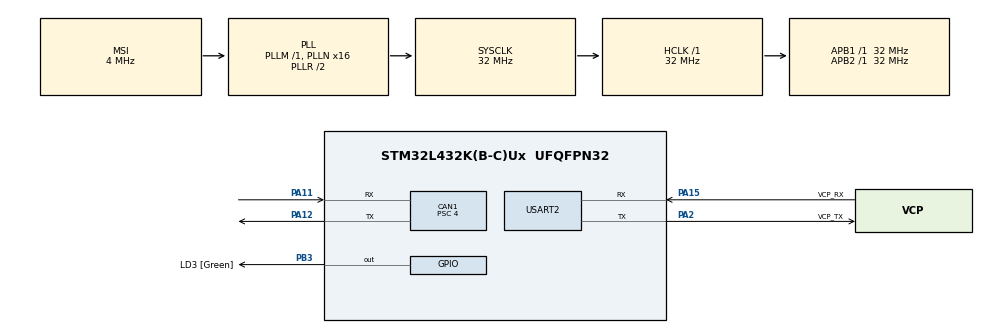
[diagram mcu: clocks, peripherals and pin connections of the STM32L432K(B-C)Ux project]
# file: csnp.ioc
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CAN1.ABOM=ENABLE
CAN1.BS1=CAN_BS1_5TQ
CAN1.BS2=CAN_BS2_2TQ
CAN1.CalculateBaudRate=1000000
CAN1.CalculateTimeBit=1000
CAN1.CalculateTimeQuantum=125.0
CAN1.NART=ENABLE
CAN1.Prescaler=4
CAN1.SJW=CAN_SJW_2TQ
Mcu.Family=STM32L4
Mcu.Name=STM32L432K(B-C)Ux
Mcu.Package=UFQFPN32
NVIC.CAN1_RX0_IRQn=true\:0\:0\:false\:false\:true\:true\:true\:true
NVIC.CAN1_RX1_IRQn=true\:0\:0\:false\:false\:true\:true\:true\:true
NVIC.PriorityGroup=NVIC_PRIORITYGROUP_4
PA0.GPIO_Label=MCO [High speed clock in]
PA0.Mode=HSE-External-Clock-Source-for-LittleOrca
PA0.Signal=RCC_CK_IN
PA11.Mode=CAN_Activate
PA11.Signal=CAN1_RX
PA12.Mode=CAN_Activate
PA12.Signal=CAN1_TX
PA13\ (JTMS-SWDIO).GPIO_Label=SWDIO
PA13\ (JTMS-SWDIO).Mode=Serial_Wire
PA13\ (JTMS-SWDIO).Signal=SYS_JTMS-SWDIO
PA14\ (JTCK-SWCLK).GPIO_Label=SWCLK
PA14\ (JTCK-SWCLK).Mode=Serial_Wire
PA14\ (JTCK-SWCLK).Signal=SYS_JTCK-SWCLK
PA15\ (JTDI).GPIO_Label=VCP_RX
PA15\ (JTDI).Mode=Asynchronous
PA15\ (JTDI).Signal=USART2_RX
PA2.GPIO_Label=VCP_TX
PA2.Mode=Asynchronous
PA2.Signal=USART2_TX
PB3\ (JTDO-TRACESWO).GPIO_Label=LD3 [Green]
PB3\ (JTDO-TRACESWO).Signal=GPIO_Output
PC14-OSC32_IN\ (PC14).Mode=LSE-External-Oscillator
PC14-OSC32_IN\ (PC14).Signal=RCC_OSC32_IN
PC15-OSC32_OUT\ (PC15).Mode=LSE-External-Oscillator
PC15-OSC32_OUT\ (PC15).Signal=RCC_OSC32_OUT
ProjectManager.HeapSize=0x200
ProjectManager.StackSize=0x400
ProjectManager.TargetToolchain=STM32CubeIDE
RCC.AHBFreq_Value=32000000
RCC.APB1Freq_Value=32000000
RCC.APB1TimFreq_Value=32000000
RCC.APB2Freq_Value=32000000
RCC.APB2TimFreq_Value=32000000
RCC.CortexFreq_Value=32000000
RCC.HCLKFreq_Value=32000000
RCC.HSE_VALUE=8000000
RCC.HSI16_VALUE=16000000
RCC.HSI48_VALUE=48000000
RCC.HSI_VALUE=16000000
RCC.MSI_VALUE=4000000
RCC.PLLMUL=RCC_PLLMUL_4
RCC.PLLN=16
RCC.SYSCLKFreq_VALUE=32000000
RCC.SYSCLKSource=RCC_SYSCLKSOURCE_PLLCLK
RCC.VCOOutputFreq_Value=64000000
USART2.VirtualMode-Asynchronous=VM_ASYNC
board=NUCLEO-L432KC

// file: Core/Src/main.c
/* USER CODE BEGIN Header */
/**
 ******************************************************************************
 * @file           : main.c
 * @brief          : Main program body
 ******************************************************************************
 * @attention
 *
 * Copyright (c) 2024 STMicroelectronics.
 * All rights reserved.
 *
 * This software is licensed under terms that can be found in the LICENSE file
 * in the root directory of this software component.
 * If no LICENSE file comes with this software, it is provided AS-IS.
 *
 ******************************************************************************
 */
/* USER CODE END Header */
#include "main.h"

/* USER CODE BEGIN Includes */
#include "csnp.h"
#include "uart.h"
/* USER CODE END Includes */

CAN_HandleTypeDef hcan1;

UART_HandleTypeDef huart2;

void SystemClock_Config(void);
static void MX_GPIO_Init(void);
static void MX_USART2_UART_Init(void);
static void MX_CAN1_Init(void);

int main(void) {

    /* MCU Configuration--------------------------------------------------------*/

    /* Reset of all peripherals, Initializes the Flash interface and the Systick. */
    HAL_Init();

    /* Configure the system clock */
    SystemClock_Config();

    /* Initialize all configured peripherals */
    MX_GPIO_Init();
    MX_USART2_UART_Init();
    MX_CAN1_Init();
    /* USER CODE BEGIN 2 */

    CAN_FilterTypeDef canFilterConfig = { .FilterIdHigh = 0x0000, .FilterIdLow = 0x000, .FilterMaskIdHigh = 0x0000,
            .FilterMaskIdLow = 0x0000, .FilterFIFOAssignment = CAN_FILTER_FIFO0, .FilterBank = 10, .FilterMode =
            CAN_FILTERMODE_IDMASK, .FilterScale = CAN_FILTERSCALE_32BIT, .FilterActivation = CAN_FILTER_ENABLE,
            .SlaveStartFilterBank = 0 };
#ifdef RECEIVE
    CAN_TxHeaderTypeDef txHeader = { .StdId = NODE_2, .ExtId = 0, .IDE = 0, .RTR = 0, .DLC = 0, .TransmitGlobalTime =
            DISABLE };
#endif
#ifdef TRANSMIT
    CAN_TxHeaderTypeDef txHeader = { .StdId = NODE_1, .ExtId = 0, .IDE = 0, .RTR = 0, .DLC = 0, .TransmitGlobalTime =
            DISABLE };
#endif
    CSNP_Tx_Init(&txHeader);
    CSNP_Rx_Start_Msg_Pending(&canFilterConfig);
    CSNP_Start(&hcan1);

    myprintf("\r\n +--------------------------------------------------+\r\n");
    myprintf(" | Distributed Control for Enhanced UAV Reliability |\r\n");
    myprintf(" |    Douglas Ryan Huston, Computer Engineering BS  |\r\n");
    myprintf(" |     CPE 187, Fall 2024, Professor Sean Kennedy   |\r\n");
    myprintf(" |      California State University, Sacramento     |\r\n");
    myprintf(" +--------------------------------------------------+\r\n");
    // tis 100
#ifdef RECEIVE

        myprintf("             Receive System Initialized\r\n");

    while(1){

        CSNP_Payload *payload = CSPN_Rx_Get_Data(NODE_1, &canFilterConfig);
        if( payload == NULL){
            myprintf("[ FAIL ] Buffer Rx Data is NULL\r\n");
        }
        myprintf("[SUCESS] Received %d byte payload:\r\n", sizeof(uint8_t) * payload->length);

        myprintf("%s\r\n\r\n", *payload);
        free(payload->data);
        free(payload);
    }
//    myprintf("[SUCESS] This is the end my friend.\r\n");
#endif
#ifdef TRANSMIT
    myprintf("             Transmit System Initialized\r\n");

    uint8_t dataBuffer[] = {"The world is not what it seems to the casual eye. There are depths in it, caverns of darkness, and unformed, chaotic entities that stir and yawn in the hidden places. We live on a narrow ledge between the utter blackness of the cosmos and the fathomless abysses of the earth. Our minds are poor things, flickering candles in the wind, and the slightest draft may snuff them out." };
    uint8_t dataBuffer2[] = {"The abyss gazes also into us. We are not merely spectators of horror; we are its willing participants. In the darkest corners of our souls, we harbor the same capacity for cruelty, for indifference, for the cold, calculated destruction that we so often condemn in others. We are the architects of our own demise, the authors of our own tragedy. We cling to the illusion of free will, unaware that our choices are but ripples in a vast, indifferent ocean. In the end, we are all adrift, lost in a cosmic sea of suffering, eternally yearning for a salvation that may never come." };
    while(1){

        CSNP_Tx_Send_Data(NODE_2, dataBuffer, sizeof(dataBuffer), &canFilterConfig);

        myprintf("[SUCESS] Sent %d byte payload\r\n", sizeof(dataBuffer));
        //HAL_Delay(50);
        CSNP_Tx_Send_Data(NODE_2, dataBuffer2, sizeof(dataBuffer2), &canFilterConfig);

        myprintf("[SUCESS] Sent %d byte payload\r\n", sizeof(dataBuffer2));
        //HAL_Delay(50);
    }
    myprintf("[SUCESS] This is the end my friend.\r\n");

#endif

    /* USER CODE END 2 */

    /* Infinite loop */
    while( 1){

    }
}

void SystemClock_Config(void) {
    RCC_OscInitTypeDef RCC_OscInitStruct = { 0 };
    RCC_ClkInitTypeDef RCC_ClkInitStruct = { 0 };

    /** Configure the main internal regulator output voltage
     */
    if( HAL_PWREx_ControlVoltageScaling(PWR_REGULATOR_VOLTAGE_SCALE1) != HAL_OK){
        Error_Handler();
    }

    /** Configure LSE Drive Capability
     */
    HAL_PWR_EnableBkUpAccess();
    __HAL_RCC_LSEDRIVE_CONFIG(RCC_LSEDRIVE_LOW);

    /** Initializes the RCC Oscillators according to the specified parameters
     * in the RCC_OscInitTypeDef structure.
     */
    RCC_OscInitStruct.OscillatorType = RCC_OSCILLATORTYPE_LSE | RCC_OSCILLATORTYPE_MSI;
    RCC_OscInitStruct.LSEState = RCC_LSE_ON;
    RCC_OscInitStruct.MSIState = RCC_MSI_ON;
    RCC_OscInitStruct.MSICalibrationValue = 0;
    RCC_OscInitStruct.MSIClockRange = RCC_MSIRANGE_6;
    RCC_OscInitStruct.PLL.PLLState = RCC_PLL_ON;
    RCC_OscInitStruct.PLL.PLLSource = RCC_PLLSOURCE_MSI;
    RCC_OscInitStruct.PLL.PLLM = 1;
    RCC_OscInitStruct.PLL.PLLN = 16;
    RCC_OscInitStruct.PLL.PLLP = RCC_PLLP_DIV7;
    RCC_OscInitStruct.PLL.PLLQ = RCC_PLLQ_DIV2;
    RCC_OscInitStruct.PLL.PLLR = RCC_PLLR_DIV2;
    if( HAL_RCC_OscConfig(&RCC_OscInitStruct) != HAL_OK){
        Error_Handler();
    }

    /** Initializes the CPU, AHB and APB buses clocks
     */
    RCC_ClkInitStruct.ClockType = RCC_CLOCKTYPE_HCLK | RCC_CLOCKTYPE_SYSCLK | RCC_CLOCKTYPE_PCLK1 | RCC_CLOCKTYPE_PCLK2;
    RCC_ClkInitStruct.SYSCLKSource = RCC_SYSCLKSOURCE_PLLCLK;
    RCC_ClkInitStruct.AHBCLKDivider = RCC_SYSCLK_DIV1;
    RCC_ClkInitStruct.APB1CLKDivider = RCC_HCLK_DIV1;
    RCC_ClkInitStruct.APB2CLKDivider = RCC_HCLK_DIV1;

    if( HAL_RCC_ClockConfig(&RCC_ClkInitStruct, FLASH_LATENCY_1) != HAL_OK){
        Error_Handler();
    }

    /** Enable MSI Auto calibration
     */
    HAL_RCCEx_EnableMSIPLLMode();
}

static void MX_CAN1_Init(void) {

    hcan1.Instance = CAN1;
    hcan1.Init.Prescaler = 4;
    hcan1.Init.Mode = CAN_MODE_NORMAL;
    hcan1.Init.SyncJumpWidth = CAN_SJW_2TQ;
    hcan1.Init.TimeSeg1 = CAN_BS1_5TQ;
    hcan1.Init.TimeSeg2 = CAN_BS2_2TQ;
    hcan1.Init.TimeTriggeredMode = DISABLE;
    hcan1.Init.AutoBusOff = ENABLE;
    hcan1.Init.AutoWakeUp = DISABLE;
    hcan1.Init.AutoRetransmission = ENABLE;
    hcan1.Init.ReceiveFifoLocked = DISABLE;
    hcan1.Init.TransmitFifoPriority = DISABLE;
    if( HAL_CAN_Init(&hcan1) != HAL_OK){
        Error_Handler();
    }

}

static void MX_USART2_UART_Init(void) {

    huart2.Instance = USART2;
    huart2.Init.BaudRate = 115200;
    huart2.Init.WordLength = UART_WORDLENGTH_8B;
    huart2.Init.StopBits = UART_STOPBITS_1;
    huart2.Init.Parity = UART_PARITY_NONE;
    huart2.Init.Mode = UART_MODE_TX_RX;
    huart2.Init.HwFlowCtl = UART_HWCONTROL_NONE;
    huart2.Init.OverSampling = UART_OVERSAMPLING_16;
    huart2.Init.OneBitSampling = UART_ONE_BIT_SAMPLE_DISABLE;
    huart2.AdvancedInit.AdvFeatureInit = UART_ADVFEATURE_NO_INIT;
    if( HAL_UART_Init(&huart2) != HAL_OK){
        Error_Handler();
    }

}

static void MX_GPIO_Init(void) {
    GPIO_InitTypeDef GPIO_InitStruct = { 0 };

    /* GPIO Ports Clock Enable */
    __HAL_RCC_GPIOC_CLK_ENABLE();
    __HAL_RCC_GPIOA_CLK_ENABLE();
    __HAL_RCC_GPIOB_CLK_ENABLE();

    /*Configure GPIO pin Output Level */
    HAL_GPIO_WritePin(LD3_GPIO_Port, LD3_Pin, GPIO_PIN_RESET);

    /*Configure GPIO pin : LD3_Pin */
    GPIO_InitStruct.Pin = LD3_Pin;
    GPIO_InitStruct.Mode = GPIO_MODE_OUTPUT_PP;
    GPIO_InitStruct.Pull = GPIO_NOPULL;
    GPIO_InitStruct.Speed = GPIO_SPEED_FREQ_LOW;
    HAL_GPIO_Init(LD3_GPIO_Port, &GPIO_InitStruct);

}

void Error_Handler(void) {
    __disable_irq();
    while( 1){
    }
}
